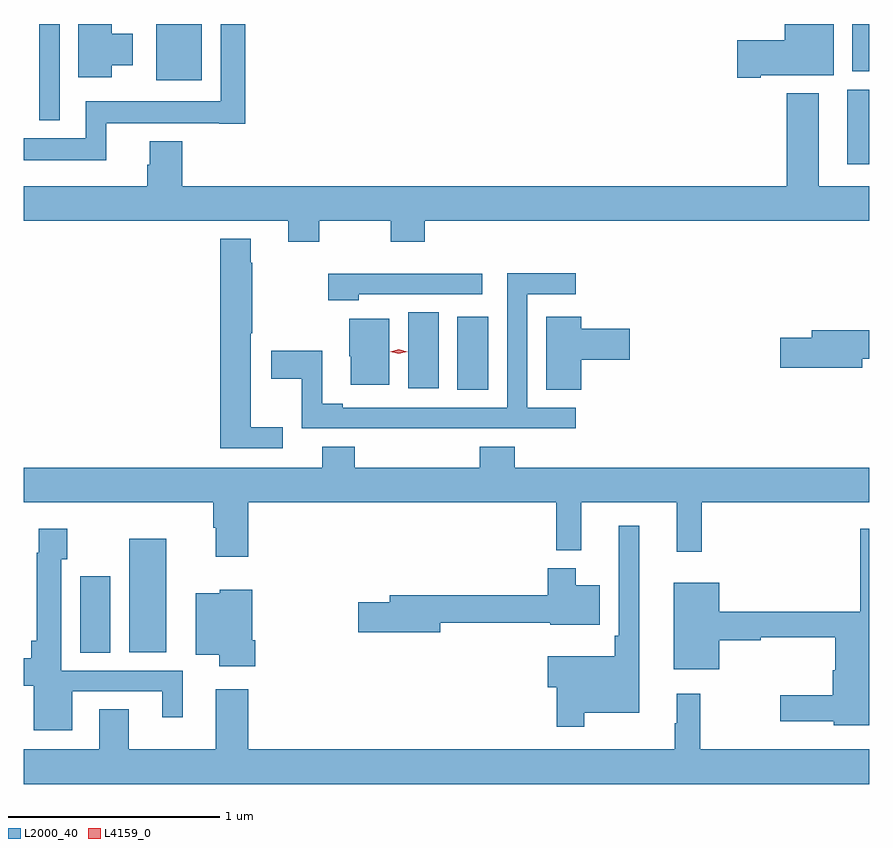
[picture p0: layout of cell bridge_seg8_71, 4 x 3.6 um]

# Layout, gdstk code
import gdstk
lib = gdstk.Library(unit=1e-6, precision=1e-09)
def R(c, l, rs):  # rectangles x0, y0, x1, y1
    for r in rs: c.add(gdstk.rectangle(r[:2], r[2:], *l))
def P(c, l, *ps):  # polygons
    for p in ps: c.add(gdstk.Polygon(p, *l))
L2000_40 = (2000, 40)
L4159_0 = (4159, 0)

bridge_seg8_71 = lib.new_cell('bridge_seg8_71')
R(bridge_seg8_71, L2000_40, [(914.159,1085.152,914.302,1085.515), (914.39,1085.156,914.566,1085.692), (915.944,1086.397,916.09,1086.742), (915.71,1086.405,915.856,1086.764), (917.789,1087.464,917.892,1087.816), (913.965,1087.673,914.061,1088.128), (914.519,1087.862,914.734,1088.128), (917.813,1087.904,917.892,1088.128)])
P(bridge_seg8_71, L2000_40, [(914.308,1087.934),(914.407,1087.934),(914.407,1088.082),(914.308,1088.082),(914.308,1088.128),(914.15,1088.128),(914.15,1087.875),(914.308,1087.875)],
  [(914.282,1087.658),(914.816,1087.658),(914.816,1087.656),(914.939,1087.656),(914.939,1088.128),(914.823,1088.128),(914.823,1087.762),(914.184,1087.762),(914.184,1087.588),(913.892,1087.588),(913.892,1087.484),(914.282,1087.484)],
  [(917.38,1087.886),(917.725,1087.886),(917.725,1088.128),(917.492,1088.128),(917.492,1088.052),(917.268,1088.052),(917.268,1087.874),(917.38,1087.874)],
  [(915.143,1087.097),(915.291,1087.097),(915.291,1087.196),(915.628,1087.196),(915.628,1087.097),(915.788,1087.097),(915.788,1087.196),(917.892,1087.196),(917.892,1087.36),(917.653,1087.36),(917.653,1087.801),(917.501,1087.801),(917.501,1087.36),(914.642,1087.36),(914.642,1087.573),(914.489,1087.573),(914.489,1087.461),(914.477,1087.461),(914.477,1087.36),(913.892,1087.36),(913.892,1087.196),(915.143,1087.196)],
  [(915.118,1086.219),(914.965,1086.219),(914.965,1086.664),(914.973,1086.664),(914.973,1086.998),(914.965,1086.998),(914.965,1087.111),(914.822,1087.111),(914.822,1086.12),(915.118,1086.12)],
  [(915.965,1086.216),(916.282,1086.216),(916.282,1086.215),(916.504,1086.215),(916.504,1086.312),(916.275,1086.312),(916.275,1086.849),(916.504,1086.849),(916.504,1086.948),(916.179,1086.948),(916.179,1086.312),(915.4,1086.312),(915.4,1086.332),(915.304,1086.332),(915.304,1086.581),(915.063,1086.581),(915.063,1086.449),(915.207,1086.449),(915.207,1086.216),(915.541,1086.216),(915.541,1086.215),(915.965,1086.215)],
  [(915.477,1086.849),(916.06,1086.849),(916.06,1086.946),(915.333,1086.946),(915.333,1086.821),(915.477,1086.821)],
  [(916.529,1086.539),(916.759,1086.539),(916.759,1086.686),(916.529,1086.686),(916.529,1086.742),(916.364,1086.742),(916.364,1086.397),(916.529,1086.397)],
  [(915.622,1086.733),(915.431,1086.733),(915.431,1086.555),(915.44,1086.555),(915.44,1086.422),(915.622,1086.422)],
  [(917.86,1086.544),(917.892,1086.544),(917.892,1086.68),(917.621,1086.68),(917.621,1086.644),(917.472,1086.644),(917.472,1086.502),(917.86,1086.502)],
  [(914.954,1085.864),(916.411,1085.864),(916.411,1085.639),(916.529,1085.639),(916.529,1085.864),(916.982,1085.864),(916.982,1085.631),(917.099,1085.631),(917.099,1085.864),(917.892,1085.864),(917.892,1086.028),(916.214,1086.028),(916.214,1086.127),(916.049,1086.127),(916.049,1086.028),(915.458,1086.028),(915.458,1086.127),(915.305,1086.127),(915.305,1086.028),(913.892,1086.028),(913.892,1085.864),(914.789,1085.864),(914.789,1085.744),(914.801,1085.744),(914.801,1085.607),(914.954,1085.607)],
  [(916.543,1084.868),(916.804,1084.868),(916.804,1085.755),(916.707,1085.755),(916.707,1085.233),(916.687,1085.233),(916.687,1085.137),(916.37,1085.137),(916.37,1084.99),(916.414,1084.99),(916.414,1084.803),(916.543,1084.803)],
  [(917.892,1085.74),(917.85,1085.74),(917.85,1085.348),(917.182,1085.348),(917.182,1085.485),(916.967,1085.485),(916.967,1085.075),(917.182,1085.075),(917.182,1085.212),(917.378,1085.212),(917.378,1085.227),(917.732,1085.227),(917.732,1085.07),(917.72,1085.07),(917.72,1084.951),(917.472,1084.951),(917.472,1084.829),(917.724,1084.829),(917.724,1084.811),(917.892,1084.811)],
  [(914.122,1084.971),(914.546,1084.971),(914.546,1084.848),(914.644,1084.848),(914.644,1085.067),(914.07,1085.067),(914.07,1085.595),(914.097,1085.595),(914.097,1085.74),(913.962,1085.74),(913.962,1085.627),(913.954,1085.627),(913.954,1085.209),(913.928,1085.209),(913.928,1085.126),(913.892,1085.126),(913.892,1084.998),(913.94,1084.998),(913.94,1084.787),(914.122,1084.787)],
  [(915.862,1085.296),(916.382,1085.296),(916.382,1085.285),(916.618,1085.285),(916.618,1085.473),(916.504,1085.473),(916.504,1085.554),(916.37,1085.554),(916.37,1085.425),(915.623,1085.425),(915.623,1085.391),(915.474,1085.391),(915.474,1085.249),(915.862,1085.249)],
  [(914.987,1085.212),(914.974,1085.212),(914.974,1085.452),(914.82,1085.452),(914.82,1085.434),(914.705,1085.434),(914.705,1085.144),(914.816,1085.144),(914.816,1085.09),(914.987,1085.09)],
  [(916.982,1084.96),(916.982,1084.82),(916.971,1084.82),(916.971,1084.696),(914.954,1084.696),(914.954,1084.981),(914.801,1084.981),(914.801,1084.696),(914.389,1084.696),(914.389,1084.886),(914.249,1084.886),(914.249,1084.696),(913.892,1084.696),(913.892,1084.532),(917.892,1084.532),(917.892,1084.696),(917.092,1084.696),(917.092,1084.96)])
P(bridge_seg8_71, L4159_0, [(915.666,1086.568),(915.626,1086.578),(915.626,1086.578),(915.626,1086.578),(915.666,1086.588),(915.706,1086.578),(915.707,1086.578),(915.706,1086.578)])

lib.write_gds('bridge_seg8_71.gds')
